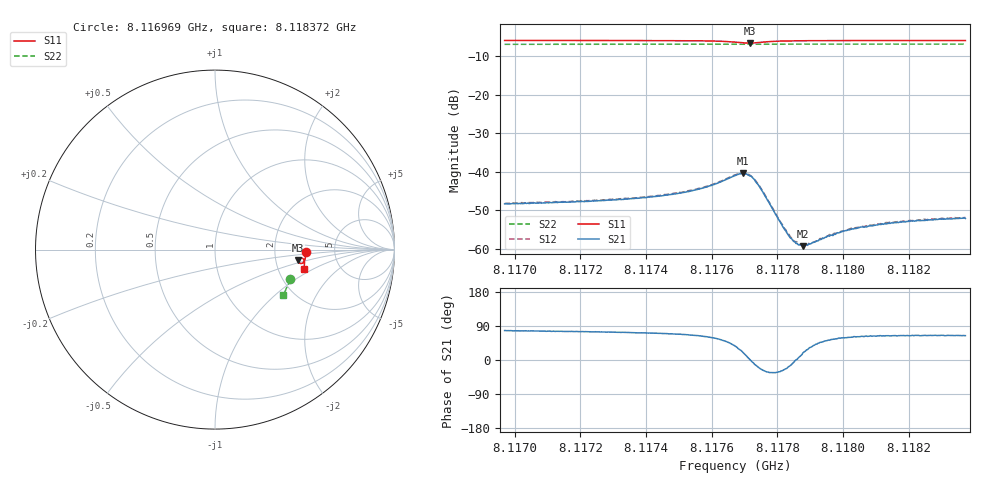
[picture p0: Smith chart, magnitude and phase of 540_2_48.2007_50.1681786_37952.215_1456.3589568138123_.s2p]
#  HZ  S  RI  R  50.00
! Rohde & Schwarz Vector Network Analyzer
! Rohde-Schwarz,ZNB20-2Port,1311601062101988,3.16
! Created: UTC 3/20/2024, 12:00:15 PM
! freq[Hz]  re:S11  im:S11  re:S21  im:S21  re:S12  im:S12  re:S22  im:S22
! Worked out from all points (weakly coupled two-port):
!   401 points, 8.116969 GHz to 8.118372 GHz, reference 50 ohm
!   highest |S21| = -40.43 dB at 8.117695 GHz (marker M1); lowest = -59.4 dB at 8.117878 GHz (marker M2)
!   lowest |S11| = -6.6 dB at 8.117716 GHz (marker M3), VSWR 2.76, Z = 134 - j19.9 ohm
!   |S11| at or under -10 dB: nowhere
!   |S22| runs from -6.9 to -6.8 dB; largest |S21 - S12| = 0.00029
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8.1169689e9  0.5063 -0.0134  0.000804 0.00373  0.000851 0.00374  0.4196 -0.1664
8.117204e9  0.505 -0.032  0.00106 0.00395  0.00111 0.00402  0.4138 -0.1818
8.1173654e9  0.5033 -0.0457  0.00137 0.00427  0.00143 0.00434  0.4094 -0.1924
8.1174391e9  0.5019 -0.0524  0.00162 0.00452  0.00165 0.00461  0.4075 -0.197
8.1175127e9  0.4998 -0.0601  0.00205 0.00494  0.00213 0.00502  0.4052 -0.2016
8.1175689e9  0.4968 -0.0668  0.00272 0.0054  0.00283 0.00551  0.4034 -0.2056
8.1176145e9  0.4914 -0.073  0.00385 0.00584  0.00399 0.00592  0.4019 -0.2085
8.1176706e9  0.4758 -0.0773  0.00709 0.00536  0.00728 0.00544  0.3996 -0.2118
8.1176952e9  0.4659 -0.0703  0.00896 0.0032  0.00906 0.00321  0.3984 -0.2129
8.1177162e9  0.4639 -0.058  0.00876 0.000109  0.00898 0.000128  0.3979 -0.2136
8.1177268e9  0.4668 -0.0521  0.00802 -0.00109  0.00812 -0.00117  0.3977 -0.214
8.1177478e9  0.4764 -0.0462  0.00559 -0.00239  0.00574 -0.00247  0.3977 -0.2151
8.117804e9  0.4934 -0.0532  0.00203 -0.00122  0.00208 -0.00125  0.3967 -0.2189
8.1178355e9  0.4964 -0.0587  0.00139 -0.000422  0.00145 -0.000463  0.3958 -0.221
8.1178461e9  0.4971 -0.0604  0.00127 -0.000205  0.00126 -0.000185  0.3954 -0.2218
8.1178566e9  0.4975 -0.0621  0.00116 9.64e-06  0.00124 -2.16e-05  0.3953 -0.2224
8.1178776e9  0.4981 -0.0651  0.00102 0.000347  0.00106 0.000365  0.3945 -0.224
8.1179057e9  0.4985 -0.0687  0.000967 0.000696  0.000942 0.000694  0.3936 -0.2256
8.1179583e9  0.4987 -0.0748  0.000883 0.00115  0.000902 0.00123  0.392 -0.2292
8.1180215e9  0.4982 -0.081  0.000878 0.00153  0.000915 0.00157  0.3899 -0.2331
8.1181408e9  0.4968 -0.0915  0.000943 0.00191  0.00098 0.00197  0.3856 -0.2403
8.1183723e9  0.4931 -0.11  0.00107 0.00222  0.0011 0.0023  0.3775 -0.2544
